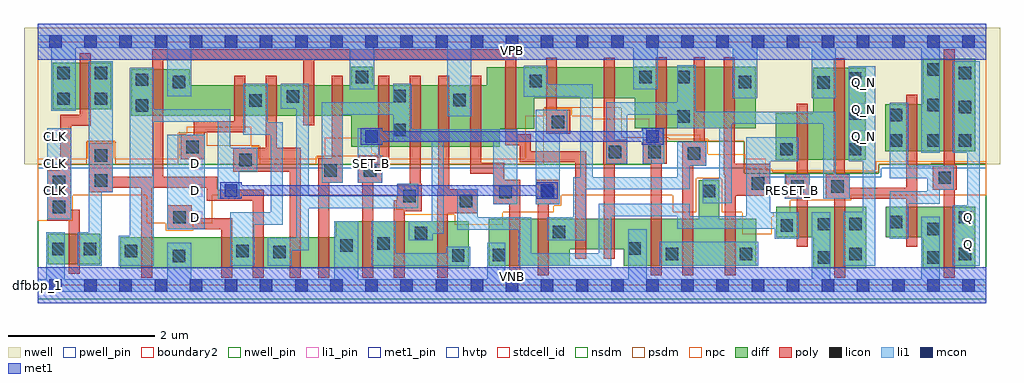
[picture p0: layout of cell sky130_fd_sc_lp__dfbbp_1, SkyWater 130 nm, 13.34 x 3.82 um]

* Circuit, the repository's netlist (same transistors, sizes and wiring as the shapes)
* Copyright 2020 The SkyWater PDK Authors
*
* Licensed under the Apache License, Version 2.0 (the "License");
* you may not use this file except in compliance with the License.
* You may obtain a copy of the License at
*
*     https://www.apache.org/licenses/LICENSE-2.0
*
* Unless required by applicable law or agreed to in writing, software
* distributed under the License is distributed on an "AS IS" BASIS,
* WITHOUT WARRANTIES OR CONDITIONS OF ANY KIND, either express or implied.
* See the License for the specific language governing permissions and
* limitations under the License.
*
* SPDX-License-Identifier: Apache-2.0

.SUBCKT sky130_fd_sc_lp__dfbbp_1 CLK D RESET_B SET_B VGND VNB VPB VPWR Q Q_N
*.PININFO CLK:I D:I RESET_B:I SET_B:I VGND:I VNB:I VPB:I VPWR:I Q:O
*.PININFO Q_N:O
MI46 clkpos clkneg VGND VNB sky130_fd_pr__nfet_01v8 m=1 w=0.42U l=0.15U mult=1
+ sa=0.265 sb=0.265 sd=0.28 area=0.063 perim=1.14
MI659 db D VGND VNB sky130_fd_pr__nfet_01v8 m=1 w=0.42U l=0.15U mult=1 sa=0.265
+ sb=0.265 sd=0.28 area=0.063 perim=1.14
MI642 RESET RESET_B VGND VNB sky130_fd_pr__nfet_01v8 m=1 w=0.42U l=0.15U mult=1
+ sa=0.265 sb=0.265 sd=0.28 area=0.063 perim=1.14
MI676 M1 M0 net141 VNB sky130_fd_pr__nfet_01v8 m=1 w=0.64U l=0.15U mult=1 sa=0.265
+ sb=0.265 sd=0.28 area=0.063 perim=1.14
MI675 net141 SET_B VGND VNB sky130_fd_pr__nfet_01v8 m=1 w=0.64U l=0.15U mult=1
+ sa=0.265 sb=0.265 sd=0.28 area=0.063 perim=1.14
MI653 Q net162 VGND VNB sky130_fd_pr__nfet_01v8 m=1 w=0.84U l=0.15U mult=1 sa=0.265
+ sb=0.265 sd=0.28 area=0.063 perim=1.14
MI677 M1 RESET net141 VNB sky130_fd_pr__nfet_01v8 m=1 w=0.64U l=0.15U mult=1 sa=0.265
+ sb=0.265 sd=0.28 area=0.063 perim=1.14
MI648 M0 clkpos net125 VNB sky130_fd_pr__nfet_01v8 m=1 w=0.42U l=0.15U mult=1 sa=0.265
+ sb=0.265 sd=0.28 area=0.063 perim=1.14
MI44 clkneg CLK VGND VNB sky130_fd_pr__nfet_01v8 m=1 w=0.42U l=0.15U mult=1 sa=0.265
+ sb=0.265 sd=0.28 area=0.063 perim=1.14
MI649 net125 M1 VGND VNB sky130_fd_pr__nfet_01v8 m=1 w=0.42U l=0.15U mult=1 sa=0.265
+ sb=0.265 sd=0.28 area=0.063 perim=1.14
MI655 S0 clkneg net110 VNB sky130_fd_pr__nfet_01v8 m=1 w=0.42U l=0.15U mult=1 sa=0.265
+ sb=0.265 sd=0.28 area=0.063 perim=1.14
MI654 net110 net82 VGND VNB sky130_fd_pr__nfet_01v8 m=1 w=0.42U l=0.15U mult=1
+ sa=0.265 sb=0.265 sd=0.28 area=0.063 perim=1.14
MI651 Q_N net82 VGND VNB sky130_fd_pr__nfet_01v8 m=1 w=0.84U l=0.15U mult=1 sa=0.265
+ sb=0.265 sd=0.28 area=0.063 perim=1.14
MI652 net162 net82 VGND VNB sky130_fd_pr__nfet_01v8 m=1 w=0.42U l=0.15U mult=1
+ sa=0.265 sb=0.265 sd=0.28 area=0.063 perim=1.14
MI42 db clkneg M0 VNB sky130_fd_pr__nfet_01v8 m=1 w=0.42U l=0.15U mult=1 sa=0.265
+ sb=0.265 sd=0.28 area=0.063 perim=1.14
MI668 S0 clkpos net93 VNB sky130_fd_pr__nfet_01v8 m=1 w=0.64U l=0.15U mult=1 sa=0.265
+ sb=0.265 sd=0.28 area=0.063 perim=1.14
MI667 net93 M1 VGND VNB sky130_fd_pr__nfet_01v8 m=1 w=0.64U l=0.15U mult=1 sa=0.265
+ sb=0.265 sd=0.28 area=0.063 perim=1.14
MI630 net82 RESET net81 VNB sky130_fd_pr__nfet_01v8 m=1 w=0.64U l=0.15U mult=1
+ sa=0.265 sb=0.265 sd=0.28 area=0.063 perim=1.14
MI3 net82 S0 net81 VNB sky130_fd_pr__nfet_01v8 m=1 w=0.64U l=0.15U mult=1 sa=0.265
+ sb=0.265 sd=0.28 area=0.063 perim=1.14
MI7 net81 SET_B VGND VNB sky130_fd_pr__nfet_01v8 m=1 w=0.64U l=0.15U mult=1 sa=0.265
+ sb=0.265 sd=0.28 area=0.063 perim=1.14
MI679 M1 SET_B VPWR VPB sky130_fd_pr__pfet_01v8_hvt m=1 w=0.84U l=0.15U mult=1
+ sa=0.265 sb=0.265 sd=0.28 area=0.063 perim=1.14
MI669 S0 clkneg net218 VPB sky130_fd_pr__pfet_01v8_hvt m=1 w=0.84U l=0.15U mult=1
+ sa=0.265 sb=0.265 sd=0.28 area=0.063 perim=1.14
MI660 Q net162 VPWR VPB sky130_fd_pr__pfet_01v8_hvt m=1 w=1.26U l=0.15U mult=1
+ sa=0.265 sb=0.265 sd=0.28 area=0.063 perim=1.14
MI9 net82 S0 net221 VPB sky130_fd_pr__pfet_01v8_hvt m=1 w=0.84U l=0.15U mult=1
+ sa=0.265 sb=0.265 sd=0.28 area=0.063 perim=1.14
MI670 net218 M1 VPWR VPB sky130_fd_pr__pfet_01v8_hvt m=1 w=0.84U l=0.15U mult=1
+ sa=0.265 sb=0.265 sd=0.28 area=0.063 perim=1.14
MI678 net165 RESET VPWR VPB sky130_fd_pr__pfet_01v8_hvt m=1 w=0.84U l=0.15U mult=1
+ sa=0.265 sb=0.265 sd=0.28 area=0.063 perim=1.14
MI662 net210 net82 VPWR VPB sky130_fd_pr__pfet_01v8_hvt m=1 w=0.42U l=0.15U mult=1
+ sa=0.265 sb=0.265 sd=0.28 area=0.063 perim=1.14
MI664 S0 clkpos net210 VPB sky130_fd_pr__pfet_01v8_hvt m=1 w=0.42U l=0.15U mult=1
+ sa=0.265 sb=0.265 sd=0.28 area=0.063 perim=1.14
MI10 net82 SET_B VPWR VPB sky130_fd_pr__pfet_01v8_hvt m=1 w=0.84U l=0.15U mult=1
+ sa=0.265 sb=0.265 sd=0.28 area=0.063 perim=1.14
MI11 net221 RESET VPWR VPB sky130_fd_pr__pfet_01v8_hvt m=1 w=0.84U l=0.15U mult=1
+ sa=0.265 sb=0.265 sd=0.28 area=0.063 perim=1.14
MI650 net194 M1 VPWR VPB sky130_fd_pr__pfet_01v8_hvt m=1 w=0.42U l=0.15U mult=1
+ sa=0.265 sb=0.265 sd=0.28 area=0.063 perim=1.14
MI665 db D VPWR VPB sky130_fd_pr__pfet_01v8_hvt m=1 w=0.42U l=0.15U mult=1 sa=0.265
+ sb=0.265 sd=0.28 area=0.063 perim=1.14
MI43 db clkpos M0 VPB sky130_fd_pr__pfet_01v8_hvt m=1 w=0.42U l=0.15U mult=1 sa=0.265
+ sb=0.265 sd=0.28 area=0.063 perim=1.14
MI656 M0 clkneg net194 VPB sky130_fd_pr__pfet_01v8_hvt m=1 w=0.42U l=0.15U mult=1
+ sa=0.265 sb=0.265 sd=0.28 area=0.063 perim=1.14
MI643 RESET RESET_B VPWR VPB sky130_fd_pr__pfet_01v8_hvt m=1 w=0.64U l=0.15U mult=1
+ sa=0.265 sb=0.265 sd=0.28 area=0.063 perim=1.14
MI47 clkpos clkneg VPWR VPB sky130_fd_pr__pfet_01v8_hvt m=1 w=0.64U l=0.15U mult=1
+ sa=0.265 sb=0.265 sd=0.28 area=0.063 perim=1.14
MI45 clkneg CLK VPWR VPB sky130_fd_pr__pfet_01v8_hvt m=1 w=0.64U l=0.15U mult=1
+ sa=0.265 sb=0.265 sd=0.28 area=0.063 perim=1.14
MI680 M1 M0 net165 VPB sky130_fd_pr__pfet_01v8_hvt m=1 w=0.84U l=0.15U mult=1 sa=0.265
+ sb=0.265 sd=0.28 area=0.063 perim=1.14
MI663 net162 net82 VPWR VPB sky130_fd_pr__pfet_01v8_hvt m=1 w=0.64U l=0.15U mult=1
+ sa=0.265 sb=0.265 sd=0.28 area=0.063 perim=1.14
MI661 Q_N net82 VPWR VPB sky130_fd_pr__pfet_01v8_hvt m=1 w=1.26U l=0.15U mult=1
+ sa=0.265 sb=0.265 sd=0.28 area=0.063 perim=1.14
.ENDS sky130_fd_sc_lp__dfbbp_1

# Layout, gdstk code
import gdstk
lib = gdstk.Library(unit=1e-6, precision=1e-09)
def R(c, l, rs):  # rectangles x0, y0, x1, y1
    for r in rs: c.add(gdstk.rectangle(r[:2], r[2:], *l))
def A(c, l, x, y, w, h, nx, ny, dx, dy):  # array of equal rectangles
    R(c, l, [(x+i*dx, y+j*dy, x+i*dx+w, y+j*dy+h) for i in range(nx) for j in range(ny)])
def P(c, l, *ps):  # polygons
    for p in ps: c.add(gdstk.Polygon(p, *l))
nwell_pin = (64, 16)
nwell = (64, 20)
diff = (65, 20)
poly = (66, 20)
licon = (66, 44)
li1_pin = (67, 16)
li1 = (67, 20)
mcon = (67, 44)
met1_pin = (68, 16)
met1 = (68, 20)
hvtp = (78, 44)
stdcell_id = (81, 4)
nsdm = (93, 44)
psdm = (94, 20)
npc = (95, 20)
pwell_pin = (122, 16)
boundary2 = (236, 0)

sky130_fd_sc_lp__dfbbp_1 = lib.new_cell('sky130_fd_sc_lp__dfbbp_1')
R(sky130_fd_sc_lp__dfbbp_1, nwell_pin, [(0,3.085,12.96,3.33)])
P(sky130_fd_sc_lp__dfbbp_1, nwell, [(13.15,3.52),(-0.19,3.52),(-0.19,1.655),(8.385,1.655),(8.385,1.97),(9.655,1.97),(9.655,1.535),(11.495,1.535),(11.495,1.655),(13.15,1.655)])
R(sky130_fd_sc_lp__dfbbp_1, diff, [(0.135,0.285,0.855,0.705), (0.205,2.405,1.005,3.045)])
P(sky130_fd_sc_lp__dfbbp_1, diff, [(5.89,0.875),(4.07,0.875),(4.07,0.655),(1.125,0.655),(1.125,0.235),(5.89,0.235)],
  [(9.81,2.99),(8.16,2.99),(8.16,2.98),(6.135,2.98),(6.135,2.735),(4.575,2.735),(4.575,2.99),(4.285,2.99),(4.285,2.735),(2.075,2.735),(2.075,2.955),(1.275,2.955),(1.275,2.315),(4.285,2.315),(4.285,1.895),(6.31,1.895),(6.31,2.14),(6.785,2.14),(6.785,2.56),(8.16,2.56),(8.16,2.15),(9.81,2.15)],
  [(9.82,0.91),(9.315,0.91),(9.315,1.435),(9.03,1.435),(9.03,0.91),(6.16,0.91),(6.16,0.27),(7.27,0.27),(7.27,0.49),(8.01,0.49),(8.01,0.27),(9.82,0.27)],
  [(11.315,2.975),(10.595,2.975),(10.595,2.355),(10.085,2.355),(10.085,1.715),(11.315,1.715)],
  [(11.32,1.075),(10.09,1.075),(10.09,0.655),(10.6,0.655),(10.6,0.235),(11.32,0.235)],
  [(12.815,3.095),(12.095,3.095),(12.095,2.475),(11.585,2.475),(11.585,1.835),(12.815,1.835)],
  [(12.815,1.075),(11.59,1.075),(11.59,0.655),(12.095,0.655),(12.095,0.235),(12.815,0.235)])
P(sky130_fd_sc_lp__dfbbp_1, poly, [(0.72,3.175),(0.57,3.175),(0.57,2.33),(0.305,2.33),(0.305,1.575),(0.125,1.575),(0.125,0.88),(0.42,0.88),(0.42,0.155),(0.57,0.155),(0.57,1.03),(0.455,1.03),(0.455,2.18),(0.72,2.18)],
  [(2.655,0.915),(2.1,0.915),(2.1,1.095),(1.77,1.095),(1.77,0.765),(2.505,0.765),(2.505,0.105),(2.655,0.105)],
  [(2.835,2.865),(2.685,2.865),(2.685,2.24),(2.13,2.24),(2.13,2.055),(1.95,2.055),(1.95,1.725),(2.28,1.725),(2.28,2.09),(2.835,2.09)],
  [(3.595,1.88),(3.265,1.88),(3.265,2.865),(3.115,2.865),(3.115,1.88),(2.67,1.88),(2.67,1.55),(3.445,1.55),(3.445,0.105),(3.595,0.105)],
  [(4.165,2.865),(4.015,2.865),(4.015,1.735),(3.835,1.735),(3.835,0.105),(3.985,0.105),(3.985,1.405),(4.165,1.405)],
  [(4.8,2.865),(4.65,2.865),(4.65,1.775),(4.375,1.775),(4.375,1.405),(4.435,1.405),(4.435,0.105),(4.585,0.105),(4.585,1.405),(4.705,1.405),(4.705,1.625),(4.8,1.625)],
  [(5.245,1.385),(5.23,1.385),(5.23,2.865),(5.08,2.865),(5.08,1.385),(4.915,1.385),(4.915,1.165),(4.865,1.165),(4.865,0.105),(5.015,0.105),(5.015,1.015),(5.245,1.015)],
  [(6.015,1.315),(5.62,1.315),(5.62,2.865),(5.47,2.865),(5.47,1.315),(5.455,1.315),(5.455,0.105),(5.605,0.105),(5.605,0.985),(6.015,0.985)],
  [(6.595,1.44),(6.375,1.44),(6.375,1.675),(6.06,1.675),(6.06,2.865),(5.91,2.865),(5.91,1.525),(6.225,1.525),(6.225,1.11),(6.445,1.11),(6.445,0.14),(6.595,0.14)],
  [(7.135,1.44),(6.805,1.44),(6.805,1.11),(6.835,1.11),(6.835,0.14),(6.985,0.14),(6.985,1.11),(7.135,1.11)],
  [(7.275,2.4),(7.095,2.4),(7.095,3.11),(6.945,3.11),(6.945,2.07),(7.275,2.07)],
  [(7.495,1.83),(6.735,1.83),(6.735,2.065),(6.535,2.065),(6.535,3.225),(1.56,3.225),(1.56,1.485),(1.025,1.485),(1.025,1.94),(0.695,1.94),(0.695,1.27),(1.025,1.27),(1.025,1.335),(1.41,1.335),(1.41,0.105),(1.56,0.105),(1.56,1.335),(2.31,1.335),(2.31,1.155),(2.935,1.155),(2.935,0.105),(3.085,0.105),(3.085,1.305),(2.46,1.305),(2.46,1.485),(1.71,1.485),(1.71,3.075),(3.625,3.075),(3.625,2.185),(3.775,2.185),(3.775,3.075),(6.385,3.075),(6.385,1.915),(6.585,1.915),(6.585,1.68),(7.345,1.68),(7.345,0.36),(7.495,0.36)],
  [(8.055,1.99),(7.885,1.99),(7.885,3.11),(7.735,3.11),(7.735,1.99),(7.725,1.99),(7.725,1.66),(7.735,1.66),(7.735,0.36),(7.885,0.36),(7.885,1.66),(8.055,1.66)],
  [(8.595,3.12),(8.445,3.12),(8.445,1.99),(8.265,1.99),(8.265,1.66),(8.375,1.66),(8.375,0.14),(8.525,0.14),(8.525,1.66),(8.595,1.66)],
  [(9.135,1.965),(9.115,1.965),(9.115,3.12),(8.965,3.12),(8.965,1.965),(8.805,1.965),(8.805,0.14),(8.955,0.14),(8.955,1.635),(9.135,1.635)],
  [(10.01,1.66),(9.525,1.66),(9.525,3.12),(9.375,3.12),(9.375,1.51),(9.39,1.51),(9.39,0.14),(9.54,0.14),(9.54,1.225),(10.01,1.225)],
  [(10.55,1.515),(10.52,1.515),(10.52,2.485),(10.37,2.485),(10.37,1.515),(10.22,1.515),(10.22,1.185),(10.375,1.185),(10.375,0.525),(10.525,0.525),(10.525,1.185),(10.55,1.185)],
  [(12.02,2.605),(11.87,2.605),(11.87,1.335),(11.095,1.335),(11.095,1.515),(11.03,1.515),(11.03,3.105),(10.88,3.105),(10.88,1.515),(10.765,1.515),(10.765,1.185),(10.885,1.185),(10.885,0.105),(11.035,0.105),(11.035,1.185),(11.87,1.185),(11.87,0.525),(12.02,0.525)],
  [(12.56,1.635),(12.53,1.635),(12.53,3.225),(12.38,3.225),(12.38,1.635),(12.23,1.635),(12.23,1.305),(12.38,1.305),(12.38,0.105),(12.53,0.105),(12.53,1.305),(12.56,1.305)])
A(sky130_fd_sc_lp__dfbbp_1, licon, 9.595, 0.345, 0.17, 0.17, 3, 1, 1.495, 0)
A(sky130_fd_sc_lp__dfbbp_1, licon, 11.085, 1.775, 0.17, 0.17, 1, 3, 0, 0.485)
A(sky130_fd_sc_lp__dfbbp_1, licon, 12.155, 1.895, 0.17, 0.17, 1, 3, 0, 0.485)
A(sky130_fd_sc_lp__dfbbp_1, licon, 12.585, 1.895, 0.17, 0.17, 1, 3, 0, 0.46)
R(sky130_fd_sc_lp__dfbbp_1, licon, [(10.66,0.295,10.83,0.465), (12.155,0.295,12.325,0.465), (1.845,0.315,2.015,0.485), (5.66,0.325,5.83,0.495), (6.22,0.33,6.39,0.5), (8.58,0.345,8.75,0.515), (3.22,0.37,3.39,0.54), (1.185,0.385,1.355,0.555), (2.71,0.385,2.88,0.555), (0.195,0.41,0.365,0.58), (0.625,0.41,0.795,0.58), (8.07,0.42,8.24,0.59), (4.13,0.46,4.3,0.63), (4.64,0.485,4.81,0.655), (5.15,0.63,5.32,0.8), (7.04,0.645,7.21,0.815), (12.155,0.685,12.325,0.855), (10.15,0.73,10.32,0.9), (10.66,0.75,10.83,0.92), (11.09,0.755,11.26,0.925), (11.645,0.78,11.815,0.95), (1.85,0.845,2.02,1.015), (12.585,0.845,12.755,1.015), (0.205,0.985,0.375,1.155), (5.765,1.065,5.935,1.235), (4.995,1.135,5.165,1.305), (6.305,1.19,6.475,1.36), (6.885,1.19,7.055,1.36), (9.09,1.205,9.26,1.375), (10.3,1.265,10.47,1.435), (10.845,1.265,11.015,1.435), (9.76,1.305,9.93,1.475), (0.205,1.325,0.375,1.495), (0.775,1.35,0.945,1.52), (12.31,1.385,12.48,1.555), (3.915,1.485,4.085,1.655), (4.455,1.485,4.625,1.655), (2.75,1.63,2.92,1.8), (0.775,1.69,0.945,1.86), (8.885,1.715,9.055,1.885), (7.805,1.74,7.975,1.91), (8.345,1.74,8.515,1.91), (10.145,1.775,10.315,1.945), (2.03,1.805,2.2,1.975), (11.645,1.895,11.815,2.065), (4.855,2.04,5.025,2.21), (7.025,2.15,7.195,2.32), (8.74,2.225,8.91,2.395), (11.645,2.245,11.815,2.415), (1.335,2.375,1.505,2.545), (2.89,2.44,3.06,2.61), (5.675,2.445,5.845,2.615), (0.265,2.465,0.435,2.635), (0.775,2.465,0.945,2.635), (3.4,2.495,3.57,2.665), (4.855,2.505,5.025,2.675), (10.655,2.69,10.825,2.86), (1.845,2.695,2.015,2.865), (9.58,2.695,9.75,2.865), (6.72,2.705,6.89,2.875), (1.335,2.725,1.505,2.895), (4.345,2.76,4.515,2.93), (8.22,2.76,8.39,2.93), (8.74,2.76,8.91,2.93), (0.265,2.815,0.435,2.985), (0.775,2.815,0.945,2.985)])
A(sky130_fd_sc_lp__dfbbp_1, li1_pin, 2.075, 0.84, 0.17, 0.17, 1, 3, 0, 0.37)
A(sky130_fd_sc_lp__dfbbp_1, li1_pin, 0.155, 1.21, 0.17, 0.17, 1, 3, 0, 0.37)
A(sky130_fd_sc_lp__dfbbp_1, li1_pin, 11.195, 1.95, 0.17, 0.17, 1, 3, 0, 0.37)
R(sky130_fd_sc_lp__dfbbp_1, li1_pin, [(12.635,0.47,12.805,0.64), (12.635,0.84,12.805,1.01), (10.235,1.21,10.405,1.38), (4.475,1.58,4.645,1.75)])
R(sky130_fd_sc_lp__dfbbp_1, li1, [(8.5,0.265,9.845,0.595), (1.77,0.765,2.28,2.055), (0.125,0.905,0.455,2.15), (10.205,1.18,10.55,1.515), (8.265,1.66,8.56,2.15)])
P(sky130_fd_sc_lp__dfbbp_1, li1, [(0.185,2.385),(0.185,3.245),(0,3.245),(0,3.415),(12.96,3.415),(12.96,3.245),(12.325,3.245),(12.325,1.815),(12.075,1.815),(12.075,3.245),(10.905,3.245),(10.905,2.555),(10.575,2.555),(10.575,3.245),(9.83,3.245),(9.83,2.555),(9.5,2.555),(9.5,3.245),(8.47,3.245),(8.47,2.68),(8.14,2.68),(8.14,3.245),(5.925,3.245),(5.925,2.31),(5.595,2.31),(5.595,3.245),(4.595,3.245),(4.595,2.68),(4.265,2.68),(4.265,3.245),(2.095,3.245),(2.095,2.585),(1.765,2.585),(1.765,3.245),(0.515,3.245),(0.515,2.385)],
  [(6.14,0.085),(6.14,0.58),(6.39,0.58),(6.39,0.085),(8.07,0.085),(8.07,0.765),(8.32,0.765),(8.32,0.085),(10.58,0.085),(10.58,1),(10.83,1),(10.83,0.085),(12.075,0.085),(12.075,0.935),(12.325,0.935),(12.325,0.085),(12.96,0.085),(12.96,-0.085),(0,-0.085),(0,0.085),(0.115,0.085),(0.115,0.725),(0.365,0.725),(0.365,0.085),(1.765,0.085),(1.765,0.585),(2.095,0.585),(2.095,0.085),(4.05,0.085),(4.05,0.875),(4.38,0.875),(4.38,0.085)],
  [(11.085,1.695),(11.085,2.995),(11.445,2.995),(11.445,0.265),(11.01,0.265),(11.01,1.005),(11.275,1.005),(11.275,1.695)],
  [(12.505,0.265),(12.505,1.095),(12.7,1.095),(12.7,1.815),(12.505,1.815),(12.505,3.065),(12.87,3.065),(12.87,0.265)],
  [(4.375,2.15),(4.675,2.15),(4.675,1.78),(4.705,1.78),(4.705,1.405),(4.375,1.405)],
  [(3.47,0.48),(3.47,0.265),(3.14,0.265),(3.14,0.65),(3.53,0.65),(3.53,2.41),(3.32,2.41),(3.32,2.755),(3.7,2.755),(3.7,1.225),(4.915,1.225),(4.915,1.385),(5.2,1.385),(5.2,1.055),(3.7,1.055),(3.7,0.48)],
  [(10.735,2.205),(9.485,2.205),(9.485,1.125),(9.09,1.125),(9.09,1.455),(9.315,1.455),(9.315,2.145),(8.74,2.145),(8.74,2.33),(8.055,2.33),(8.055,1.66),(7.765,1.66),(7.765,2.5),(8.74,2.5),(8.74,3.01),(8.99,3.01),(8.99,2.375),(10.905,2.375),(10.905,1.515),(11.095,1.515),(11.095,1.185),(10.735,1.185)],
  [(0.695,3.065),(1.025,3.065),(1.025,1.27),(0.875,1.27),(0.875,0.265),(0.545,0.265),(0.545,0.725),(0.695,0.725)],
  [(7.315,1.48),(7.415,1.48),(7.415,2.58),(6.64,2.58),(6.64,3),(6.97,3),(6.97,2.75),(7.585,2.75),(7.585,1.48),(8.74,1.48),(8.74,1.965),(9.135,1.965),(9.135,1.635),(8.91,1.635),(8.91,1.31),(7.485,1.31),(7.485,0.615),(6.96,0.615),(6.96,0.93),(7.315,0.93)],
  [(11.895,1.115),(11.895,0.635),(11.645,0.635),(11.645,1.285),(12.155,1.285),(12.155,1.465),(11.645,1.465),(11.645,2.495),(11.895,2.495),(11.895,1.635),(12.52,1.635),(12.52,1.305),(12.325,1.305),(12.325,1.115)],
  [(4.855,2.5),(4.855,2.755),(5.105,2.755),(5.105,2.13),(6.555,2.13),(6.555,1.11),(6.225,1.11),(6.225,1.96),(5.55,1.96),(5.55,0.705),(5.4,0.705),(5.4,0.615),(5.07,0.615),(5.07,0.875),(5.38,0.875),(5.38,1.96),(4.855,1.96),(4.855,2.33),(4.165,2.33),(4.165,1.405),(3.88,1.405),(3.88,2.5)],
  [(8.74,0.775),(8.74,0.945),(7.835,0.945),(7.835,0.265),(6.57,0.265),(6.57,0.76),(5.73,0.76),(5.73,1.315),(6.015,1.315),(6.015,0.93),(6.74,0.93),(6.74,0.435),(7.665,0.435),(7.665,1.115),(8.91,1.115),(8.91,0.945),(9.68,0.945),(9.68,2.025),(10.395,2.025),(10.395,1.695),(10.01,1.695),(10.01,1),(10.4,1),(10.4,0.635),(10.07,0.635),(10.07,0.775)],
  [(3.14,2.23),(3.35,2.23),(3.35,0.83),(2.96,0.83),(2.96,0.265),(2.63,0.265),(2.63,1),(3.18,1),(3.18,2.06),(2.81,2.06),(2.81,2.755),(3.14,2.755)],
  [(1.585,2.405),(2.63,2.405),(2.63,1.88),(3,1.88),(3,1.56),(2.755,1.56),(2.755,1.18),(2.46,1.18),(2.46,2.235),(1.585,2.235),(1.585,0.265),(1.105,0.265),(1.105,0.675),(1.255,0.675),(1.255,2.975),(1.585,2.975)],
  [(6.805,1.11),(6.805,2.4),(7.235,2.4),(7.235,2.07),(7.135,2.07),(7.135,1.11)],
  [(4.56,0.265),(4.56,0.875),(4.89,0.875),(4.89,0.435),(5.58,0.435),(5.58,0.525),(5.91,0.525),(5.91,0.265)])
A(sky130_fd_sc_lp__dfbbp_1, mcon, 0.155, -0.085, 0.17, 0.17, 27, 2, 0.48, 3.33)
R(sky130_fd_sc_lp__dfbbp_1, mcon, [(2.555,1.21,2.725,1.38), (6.875,1.21,7.045,1.38), (4.475,1.95,4.645,2.12), (8.315,1.95,8.485,2.12)])
R(sky130_fd_sc_lp__dfbbp_1, met1_pin, [(0,0,12.96,0.245), (0,3.085,12.96,3.33)])
R(sky130_fd_sc_lp__dfbbp_1, met1, [(0,-0.245,12.96,0.245), (0,3.085,12.96,3.575)])
P(sky130_fd_sc_lp__dfbbp_1, met1, [(6.815,1.18),(6.815,1.225),(2.785,1.225),(2.785,1.18),(2.495,1.18),(2.495,1.41),(2.785,1.41),(2.785,1.365),(6.815,1.365),(6.815,1.41),(7.105,1.41),(7.105,1.18)],
  [(4.415,1.92),(4.415,2.15),(4.705,2.15),(4.705,2.105),(8.255,2.105),(8.255,2.15),(8.545,2.15),(8.545,1.92),(8.255,1.92),(8.255,1.965),(4.705,1.965),(4.705,1.92)])
P(sky130_fd_sc_lp__dfbbp_1, hvtp, [(12.96,3.33),(0,3.33),(0,1.6),(9.86,1.6),(9.86,1.48),(11.525,1.48),(11.525,1.6),(12.96,1.6)])
R(sky130_fd_sc_lp__dfbbp_1, stdcell_id, [(0,0,12.96,3.33)])
P(sky130_fd_sc_lp__dfbbp_1, nsdm, [(12.96,1.655),(11.495,1.655),(11.495,1.535),(9.655,1.535),(9.655,1.97),(8.385,1.97),(8.385,1.655),(0,1.655),(0,-0.19),(12.96,-0.19)])
P(sky130_fd_sc_lp__dfbbp_1, psdm, [(12.96,3.52),(0,3.52),(0,1.655),(0.665,1.655),(0.665,1.97),(1.055,1.97),(1.055,1.655),(1.92,1.655),(1.92,2.085),(2.31,2.085),(2.31,1.91),(3.03,1.91),(3.03,1.655),(3.805,1.655),(3.805,1.765),(4.735,1.765),(4.735,1.655),(6.915,1.655),(6.915,2.43),(7.975,2.43),(7.975,2.02),(8.625,2.02),(8.625,1.995),(9.165,1.995),(9.165,1.97),(9.655,1.97),(9.655,1.585),(10.04,1.585),(10.04,1.545),(11.495,1.545),(11.495,1.655),(12.2,1.655),(12.2,1.665),(12.96,1.665)])
P(sky130_fd_sc_lp__dfbbp_1, npc, [(12.96,1.695),(11.455,1.695),(11.455,1.575),(9.945,1.575),(9.945,1.73),(9.67,1.73),(9.67,1.79),(9.155,1.79),(9.155,1.985),(9.05,1.985),(9.05,2.06),(8.355,2.06),(8.355,2.275),(7.56,2.275),(7.56,2.315),(7.295,2.315),(7.295,2.42),(6.925,2.42),(6.925,2.315),(6.66,2.315),(6.66,1.73),(4.725,1.73),(4.725,1.755),(4.62,1.755),(4.62,1.805),(4.56,1.805),(4.56,2.02),(3.92,2.02),(3.92,1.755),(3.815,1.755),(3.815,1.73),(3.02,1.73),(3.02,1.9),(2.915,1.9),(2.915,2.165),(2.035,2.165),(2.035,2.075),(1.93,2.075),(1.93,1.73),(1.045,1.73),(1.045,1.96),(0.675,1.96),(0.675,1.73),(0,1.73),(0,0.885),(0.475,0.885),(0.475,1.23),(1.485,1.23),(1.485,0.85),(1.75,0.85),(1.75,0.745),(2.12,0.745),(2.12,0.85),(2.385,0.85),(2.385,1.23),(4.895,1.23),(4.895,1.035),(5,1.035),(5,0.965),(5.695,0.965),(5.695,0.825),(6.355,0.825),(6.355,1),(7.05,1),(7.05,1.09),(7.155,1.09),(7.155,1.23),(8.675,1.23),(8.675,1),(9,1),(9,1.465),(9.35,1.465),(9.35,1),(9.63,1),(9.63,0.7),(10.03,0.7),(10.03,0.94),(10.06,0.94),(10.06,0.99),(10.285,0.99),(10.285,1.165),(11.115,1.165),(11.115,1.23),(12.96,1.23)])
R(sky130_fd_sc_lp__dfbbp_1, pwell_pin, [(0,0,12.96,0.245)])
R(sky130_fd_sc_lp__dfbbp_1, boundary2, [(0,0,12.96,3.33)])
sky130_fd_sc_lp__dfbbp_1.add(gdstk.Label('VNB', (6.48,0.123), layer=64, texttype=59))
sky130_fd_sc_lp__dfbbp_1.add(gdstk.Label('VPB', (6.48,3.208), layer=64, texttype=5))
sky130_fd_sc_lp__dfbbp_1.add(gdstk.Label('dfbbp_1', (0,0), layer=83, texttype=44))
sky130_fd_sc_lp__dfbbp_1.add(gdstk.Label('VPWR', (6.48,3.208), layer=68, texttype=5))
sky130_fd_sc_lp__dfbbp_1.add(gdstk.Label('VGND', (6.48,0.123), layer=68, texttype=5))
sky130_fd_sc_lp__dfbbp_1.add(gdstk.Label('Q_N', (11.28,2.035), layer=67, texttype=5))
sky130_fd_sc_lp__dfbbp_1.add(gdstk.Label('Q_N', (11.28,2.405), layer=67, texttype=5))
sky130_fd_sc_lp__dfbbp_1.add(gdstk.Label('Q_N', (11.28,2.775), layer=67, texttype=5))
sky130_fd_sc_lp__dfbbp_1.add(gdstk.Label('CLK', (0.24,1.295), layer=67, texttype=5))
sky130_fd_sc_lp__dfbbp_1.add(gdstk.Label('CLK', (0.24,1.665), layer=67, texttype=5))
sky130_fd_sc_lp__dfbbp_1.add(gdstk.Label('CLK', (0.24,2.035), layer=67, texttype=5))
sky130_fd_sc_lp__dfbbp_1.add(gdstk.Label('Q', (12.72,0.555), layer=67, texttype=5))
sky130_fd_sc_lp__dfbbp_1.add(gdstk.Label('Q', (12.72,0.925), layer=67, texttype=5))
sky130_fd_sc_lp__dfbbp_1.add(gdstk.Label('RESET_B', (10.32,1.295), layer=67, texttype=5))
sky130_fd_sc_lp__dfbbp_1.add(gdstk.Label('D', (2.16,0.925), layer=67, texttype=5))
sky130_fd_sc_lp__dfbbp_1.add(gdstk.Label('D', (2.16,1.295), layer=67, texttype=5))
sky130_fd_sc_lp__dfbbp_1.add(gdstk.Label('D', (2.16,1.665), layer=67, texttype=5))
sky130_fd_sc_lp__dfbbp_1.add(gdstk.Label('SET_B', (4.56,1.665), layer=67, texttype=5))

lib.write_gds('sky130_fd_sc_lp__dfbbp_1.gds')
